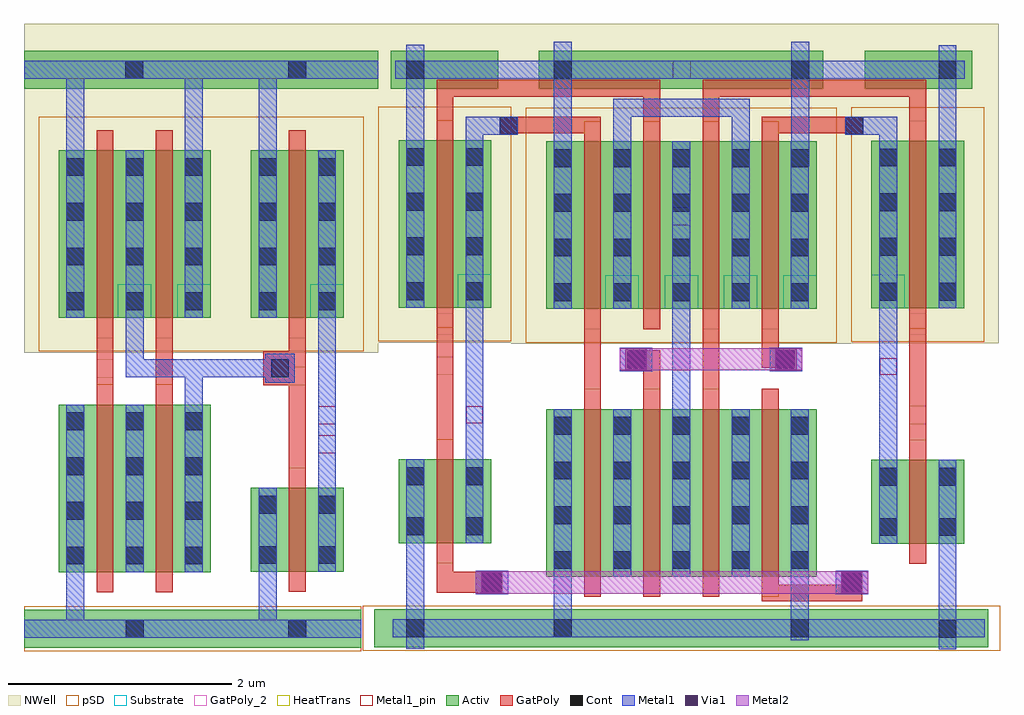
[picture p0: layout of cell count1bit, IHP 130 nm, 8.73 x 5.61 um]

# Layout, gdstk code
from math import pi, radians
import gdstk
lib = gdstk.Library(unit=1e-6, precision=5e-09)
def R(c, l, rs):  # rectangles x0, y0, x1, y1
    for r in rs: c.add(gdstk.rectangle(r[:2], r[2:], *l))
def A(c, l, x, y, w, h, nx, ny, dx, dy):  # array of equal rectangles
    R(c, l, [(x+i*dx, y+j*dy, x+i*dx+w, y+j*dy+h) for i in range(nx) for j in range(ny)])
Activ = (1, 0)
GatPoly = (5, 0)
GatPoly_2 = (5, 2)
Cont = (6, 0)
Metal1 = (8, 0)
Metal1_pin = (8, 2)
Metal2 = (10, 0)
pSD = (14, 0)
Via1 = (19, 0)
NWell = (31, 0)
Substrate = (40, 0)
HeatTrans = (51, 0)

nmos_1_1 = lib.new_cell('nmos$1$1')
R(nmos_1_1, Activ, [(0,0,0.3,0.3), (0,0,0.83,1.5), (0.53,0,0.83,0.3)])
R(nmos_1_1, GatPoly, [(0.34,-0.18,0.49,1.68)])
R(nmos_1_1, GatPoly_2, [(0.34,-0.18,0.49,1.68)])
A(nmos_1_1, Cont, 0.07, 0.07, 0.16, 0.16, 1, 4, 0, 0.4)
A(nmos_1_1, Cont, 0.6, 0.07, 0.16, 0.16, 1, 4, 0, 0.4)
R(nmos_1_1, Metal1, [(0.07,0,0.23,1.5), (0.6,0,0.76,1.5)])
R(nmos_1_1, Metal1_pin, [(0.07,0,0.23,1.5), (0.6,0,0.76,1.5)])
R(nmos_1_1, HeatTrans, [(0.34,-0.18,0.49,1.68)])
nmos_1_1.add(gdstk.Label('nmos', (0.415,0.75), layer=63, texttype=0))
nmos_1_1.add(gdstk.Label('nmos', (0.415,0.75), layer=51, texttype=0))

pmos_2 = lib.new_cell('pmos$2')
R(pmos_2, Activ, [(0,0,0.3,0.3), (0,0,0.83,1.5), (0.53,0,0.83,0.3)])
R(pmos_2, GatPoly, [(0.34,-0.18,0.49,1.68), (0.34,-0.18,0.49,1.68)])
A(pmos_2, Cont, 0.07, 0.07, 0.16, 0.16, 1, 4, 0, 0.4)
A(pmos_2, Cont, 0.6, 0.07, 0.16, 0.16, 1, 4, 0, 0.4)
R(pmos_2, Metal1, [(0.07,0,0.23,1.5), (0.07,0,0.23,1.5), (0.6,0,0.76,1.5), (0.6,0,0.76,1.5)])
R(pmos_2, pSD, [(-0.18,-0.3,1.01,1.8)])
R(pmos_2, NWell, [(-0.31,-0.31,1.14,1.81)])
R(pmos_2, Substrate, [(0.53,0,0.83,0.3)])
R(pmos_2, HeatTrans, [(0.34,-0.18,0.49,1.68)])
pmos_2.add(gdstk.Label('pmos', (0.415,0.75), layer=63, texttype=0))
pmos_2.add(gdstk.Label('pmos', (0.415,0.75), layer=51, texttype=0))

nand = lib.new_cell('nand')
R(nand, Activ, [(-2.935,-1.84,-0.955,-1.5), (-2.935,3.16,-0.955,3.5)])
R(nand, GatPoly, [(-2.285,-0.62,-2.135,1.58), (-1.755,-0.62,-1.605,1.585)])
R(nand, GatPoly_2, [(-1.755,0.46,-1.605,0.625), (-2.285,0.575,-2.135,0.74)])
R(nand, Cont, [(-2.025,-1.75,-1.865,-1.59), (-2.025,-1.75,-1.865,-1.59), (-2.03,3.25,-1.87,3.41)])
R(nand, Metal1, [(-2.935,-1.75,-0.955,-1.59), (-2.555,-1.75,-2.395,-0.535), (-1.495,-0.13,-1.335,0.74), (-2.555,1.98,-2.395,3.41), (-1.495,1.98,-1.335,3.41), (-2.935,3.25,-0.955,3.41)])
R(nand, Metal1_pin, [(-2.935,-1.75,-0.955,-1.59), (-1.495,-0.295,-1.335,-0.135), (-2.935,3.25,-0.955,3.41), (-2.03,3.25,-1.87,3.41)])
R(nand, pSD, [(-2.935,-1.87,-0.955,-1.47)])
R(nand, NWell, [(-2.935,2.92,-0.955,3.74)])
nand.add(gdstk.FlexPath([(-1.945,1.74),(-1.945,0.66),(-1.335,0.66)], 0.16, ends="flush", simple_path=True, layer=8, datatype=0))  # Metal1
nand.add(gdstk.Reference(nmos_1_1, (-2.625,-1.165)))
nand.add(gdstk.Reference(nmos_1_1, (-2.095,-1.165)))
nand.add(gdstk.Reference(pmos_2, (-2.625,1.11)))
nand.add(gdstk.Reference(pmos_2, (-2.095,1.11)))
nand.add(gdstk.Label('vss', (-1.955,-1.685), layer=8, texttype=2))
nand.add(gdstk.Label('vdd', (-1.965,3.325), layer=8, texttype=2))
nand.add(gdstk.Label('out', (-1.415,-0.22), layer=8, texttype=2))
nand.add(gdstk.Label('b', (-1.705,0.545), layer=5, texttype=2))
nand.add(gdstk.Label('a', (-2.235,0.66), layer=5, texttype=2))

m1_cont1_pmos = lib.new_cell('M1_Cont1_PMOS')
R(m1_cont1_pmos, Activ, [(-0.72,-0.175,0.73,0.165)])
R(m1_cont1_pmos, Cont, [(-0.075,-0.085,0.085,0.075)])
R(m1_cont1_pmos, Metal1, [(-0.72,-0.085,0.73,0.075)])
R(m1_cont1_pmos, Metal1_pin, [(-0.72,-0.085,0.73,0.075)])
R(m1_cont1_pmos, NWell, [(-0.72,-0.415,0.73,0.405)])

m1_bulkcont1_pmos = lib.new_cell('M1_BulkCont1_PMOS')
r = gdstk.Reference(m1_cont1_pmos, (-0.015,-0.015)); r.repetition = gdstk.Repetition(1, 1, v1=(0,0), v2=(0,0)); m1_bulkcont1_pmos.add(r)

m1_cont1_nmos = lib.new_cell('M1_Cont1_NMOS')
R(m1_cont1_nmos, Activ, [(-0.56,-0.175,0.58,0.165)])
R(m1_cont1_nmos, Cont, [(-0.07,-0.085,0.09,0.075)])
R(m1_cont1_nmos, Metal1, [(-0.56,-0.085,0.58,0.075)])
R(m1_cont1_nmos, Metal1_pin, [(-0.56,-0.085,0.58,0.075)])
R(m1_cont1_nmos, pSD, [(-0.56,-0.205,0.58,0.195)])

m1_bulkcont1_nmos = lib.new_cell('M1_BulkCont1_NMOS')
r = gdstk.Reference(m1_cont1_nmos, (0.005,0.01)); r.repetition = gdstk.Repetition(1, 1, v1=(0,0), v2=(0,0)); m1_bulkcont1_nmos.add(r)

nmos_1 = lib.new_cell('nmos$1')
R(nmos_1, Activ, [(0,0,0.3,0.3), (0,0,0.83,0.75), (0.53,0,0.83,0.3)])
R(nmos_1, GatPoly, [(0.34,-0.18,0.49,0.93)])
R(nmos_1, GatPoly_2, [(0.34,-0.18,0.49,0.93)])
R(nmos_1, Cont, [(0.07,0.07,0.23,0.23), (0.6,0.07,0.76,0.23), (0.07,0.52,0.23,0.68), (0.6,0.52,0.76,0.68)])
R(nmos_1, Metal1, [(0.07,0,0.23,0.75), (0.6,0,0.76,0.75)])
R(nmos_1, Metal1_pin, [(0.07,0,0.23,0.75), (0.6,0,0.76,0.75)])
R(nmos_1, HeatTrans, [(0.34,-0.18,0.49,0.93)])
nmos_1.add(gdstk.Label('nmos', (0.415,0.375), layer=63, texttype=0))
nmos_1.add(gdstk.Label('nmos', (0.415,0.375), layer=51, texttype=0))

pmos_1_1 = lib.new_cell('pmos$1$1')
R(pmos_1_1, Activ, [(0,0,0.3,0.3), (0,0,0.83,1.5), (0.53,0,0.83,0.3)])
R(pmos_1_1, GatPoly, [(0.34,-0.18,0.49,1.68), (0.34,-0.18,0.49,1.68)])
A(pmos_1_1, Cont, 0.07, 0.07, 0.16, 0.16, 1, 4, 0, 0.4)
A(pmos_1_1, Cont, 0.6, 0.07, 0.16, 0.16, 1, 4, 0, 0.4)
R(pmos_1_1, Metal1, [(0.07,0,0.23,1.5), (0.07,0,0.23,1.5), (0.6,0,0.76,1.5), (0.6,0,0.76,1.5)])
R(pmos_1_1, pSD, [(-0.18,-0.3,1.01,1.8)])
R(pmos_1_1, NWell, [(-0.31,-0.31,1.14,1.81)])
R(pmos_1_1, Substrate, [(0.53,0,0.83,0.3)])
R(pmos_1_1, HeatTrans, [(0.34,-0.18,0.49,1.68)])
pmos_1_1.add(gdstk.Label('pmos', (0.415,0.75), layer=63, texttype=0))
pmos_1_1.add(gdstk.Label('pmos', (0.415,0.75), layer=51, texttype=0))

inverter = lib.new_cell('inverter')
R(inverter, GatPoly, [(-0.075,-1.72,0.075,0.805)])
R(inverter, GatPoly_2, [(-0.075,-0.425,0.075,-0.26)])
R(inverter, Cont, [(-0.08,-2.685,0.08,-2.525), (-0.08,2.315,0.08,2.475)])
R(inverter, Metal1, [(-0.345,-2.685,-0.185,-1.72), (0.185,-1.72,0.345,0.805), (-0.345,1.37,-0.185,2.475)])
R(inverter, Metal1_pin, [(-0.08,-2.685,0.08,-2.525), (0.185,-1.035,0.345,-0.875), (-0.08,2.315,0.08,2.475)])
inverter.add(gdstk.Reference(m1_bulkcont1_pmos, (0.01,2.415)))
inverter.add(gdstk.Reference(m1_bulkcont1_nmos, (-0.015,-2.61)))
inverter.add(gdstk.Reference(nmos_1, (-0.415,-2.095)))
inverter.add(gdstk.Reference(pmos_1_1, (-0.415,0.175)))
inverter.add(gdstk.Label('vdd', (-0.015,2.39), layer=8, texttype=2))
inverter.add(gdstk.Label('vss', (-0.01,-2.62), layer=8, texttype=2))
inverter.add(gdstk.Label('out', (0.27,-0.95), layer=8, texttype=2))
inverter.add(gdstk.Label('in', (-0.025,-0.34), layer=5, texttype=2))

andgate = lib.new_cell('andgate')
R(andgate, GatPoly, [(0.49,-0.425,0.87,-0.125)])
R(andgate, GatPoly_2, [(-0.47,-0.36,-0.32,-0.2), (-1,-0.355,-0.85,-0.195)])
R(andgate, Cont, [(0.56,-0.355,0.72,-0.195)])
R(andgate, Metal1, [(-0.13,-2.685,0.03,-2.525), (0.51,-0.405,0.77,-0.145), (-0.05,-0.355,0.72,-0.195), (-0.21,2.315,-0.05,2.475)])
R(andgate, Metal1_pin, [(0.98,-0.775,1.14,-0.615)])
andgate.add(gdstk.Reference(nand, (1.285,-0.935)))
andgate.add(gdstk.Reference(inverter, (0.795,0)))
andgate.add(gdstk.Label('vdd', (-0.13,2.395), layer=8, texttype=0))
andgate.add(gdstk.Label('vss', (-0.055,-2.62), layer=8, texttype=0))
andgate.add(gdstk.Label('out', (1.06,-0.695), layer=8, texttype=2))
andgate.add(gdstk.Label('a', (-0.925,-0.275), layer=5, texttype=2))
andgate.add(gdstk.Label('b', (-0.395,-0.28), layer=5, texttype=2))

pmos = lib.new_cell('pmos')
R(pmos, Activ, [(0,0,0.3,0.3), (0,0,0.83,1.5), (0.53,0,0.83,0.3)])
R(pmos, GatPoly, [(0.34,-0.18,0.49,1.68), (0.34,-0.18,0.49,1.68)])
A(pmos, Cont, 0.07, 0.07, 0.16, 0.16, 1, 4, 0, 0.4)
A(pmos, Cont, 0.6, 0.07, 0.16, 0.16, 1, 4, 0, 0.4)
R(pmos, Metal1, [(0.07,0,0.23,1.5), (0.07,0,0.23,1.5), (0.6,0,0.76,1.5), (0.6,0,0.76,1.5)])
R(pmos, pSD, [(-0.18,-0.3,1.01,1.8)])
R(pmos, NWell, [(-0.31,-0.31,1.14,1.81)])
R(pmos, Substrate, [(0.53,0,0.83,0.3)])
R(pmos, HeatTrans, [(0.34,-0.18,0.49,1.68)])
pmos.add(gdstk.Label('pmos', (0.415,0.75), layer=63, texttype=0))
pmos.add(gdstk.Label('pmos', (0.415,0.75), layer=51, texttype=0))

nmos_2 = lib.new_cell('nmos$2')
R(nmos_2, Activ, [(0,0,0.3,0.3), (0,0,0.83,0.75), (0.53,0,0.83,0.3)])
R(nmos_2, GatPoly, [(0.34,-0.18,0.49,0.93)])
R(nmos_2, GatPoly_2, [(0.34,-0.18,0.49,0.93)])
R(nmos_2, Cont, [(0.07,0.07,0.23,0.23), (0.6,0.07,0.76,0.23), (0.07,0.52,0.23,0.68), (0.6,0.52,0.76,0.68)])
R(nmos_2, Metal1, [(0.07,0,0.23,0.75), (0.6,0,0.76,0.75)])
R(nmos_2, Metal1_pin, [(0.07,0,0.23,0.75), (0.6,0,0.76,0.75)])
R(nmos_2, HeatTrans, [(0.34,-0.18,0.49,0.93)])
nmos_2.add(gdstk.Label('nmos', (0.415,0.375), layer=63, texttype=0))
nmos_2.add(gdstk.Label('nmos', (0.415,0.375), layer=51, texttype=0))

pmos_1_1_1 = lib.new_cell('pmos$1$1$1')
R(pmos_1_1_1, Activ, [(0,0,0.3,0.3), (0,0,0.83,1.5), (0.53,0,0.83,0.3)])
R(pmos_1_1_1, GatPoly, [(0.34,-0.18,0.49,1.68), (0.34,-0.18,0.49,1.68)])
A(pmos_1_1_1, Cont, 0.07, 0.07, 0.16, 0.16, 1, 4, 0, 0.4)
A(pmos_1_1_1, Cont, 0.6, 0.07, 0.16, 0.16, 1, 4, 0, 0.4)
R(pmos_1_1_1, Metal1, [(0.07,0,0.23,1.5), (0.07,0,0.23,1.5), (0.6,0,0.76,1.5), (0.6,0,0.76,1.5)])
R(pmos_1_1_1, pSD, [(-0.18,-0.3,1.01,1.8)])
R(pmos_1_1_1, NWell, [(-0.31,-0.31,1.14,1.81)])
R(pmos_1_1_1, Substrate, [(0.53,0,0.83,0.3)])
R(pmos_1_1_1, HeatTrans, [(0.34,-0.18,0.49,1.68)])
pmos_1_1_1.add(gdstk.Label('pmos', (0.415,0.75), layer=63, texttype=0))
pmos_1_1_1.add(gdstk.Label('pmos', (0.415,0.75), layer=51, texttype=0))

inverter_1 = lib.new_cell('inverter$1')
R(inverter_1, Activ, [(1.335,-1.995,2.635,-1.655), (1.48,3,2.44,3.34)])
R(inverter_1, GatPoly, [(1.89,-0.135,2.04,1.34)])
R(inverter_1, GatPoly_2, [(1.89,0.44,2.04,0.605)])
R(inverter_1, Cont, [(1.62,-1.905,1.78,-1.745), (1.62,2.31,1.78,2.47), (1.62,3.09,1.78,3.25)])
R(inverter_1, Metal1, [(1.62,-2.01,1.78,-1.065), (2.15,-0.315,2.31,1.27), (1.62,2.15,1.78,3.395)])
R(inverter_1, Metal1_pin, [(1.62,-1.905,1.78,-1.745), (2.155,0.01,2.305,0.16), (1.62,3.09,1.78,3.25)])
R(inverter_1, pSD, [(1.23,-2.025,2.69,-1.625)])
R(inverter_1, NWell, [(1.24,2.85,2.69,3.58)])
inverter_1.add(gdstk.Reference(nmos_2, (1.55,-1.065)))
inverter_1.add(gdstk.Reference(pmos_1_1_1, (1.55,1.04)))
inverter_1.add(gdstk.Label('vdd', (1.685,3.17), layer=8, texttype=2))
inverter_1.add(gdstk.Label('out', (2.23,0.085), layer=8, texttype=2))
inverter_1.add(gdstk.Label('vss', (1.69,-1.84), layer=8, texttype=2))
inverter_1.add(gdstk.Label('in', (1.94,0.525), layer=5, texttype=2))

nmos = lib.new_cell('nmos')
R(nmos, Activ, [(0,0,0.3,0.3), (0,0,0.83,1.5), (0.53,0,0.83,0.3)])
R(nmos, GatPoly, [(0.34,-0.18,0.49,1.68)])
R(nmos, GatPoly_2, [(0.34,-0.18,0.49,1.68)])
A(nmos, Cont, 0.07, 0.07, 0.16, 0.16, 1, 4, 0, 0.4)
A(nmos, Cont, 0.6, 0.07, 0.16, 0.16, 1, 4, 0, 0.4)
R(nmos, Metal1, [(0.07,0,0.23,1.5), (0.6,0,0.76,1.5)])
R(nmos, Metal1_pin, [(0.07,0,0.23,1.5), (0.6,0,0.76,1.5)])
R(nmos, HeatTrans, [(0.34,-0.18,0.49,1.68)])
nmos.add(gdstk.Label('nmos', (0.415,0.75), layer=63, texttype=0))
nmos.add(gdstk.Label('nmos', (0.415,0.75), layer=51, texttype=0))

via_stack_1 = lib.new_cell('via_stack$1')
R(via_stack_1, Metal1, [(-0.145,-0.105,0.145,0.105)])
R(via_stack_1, Metal2, [(-0.145,-0.1,0.145,0.1)])
R(via_stack_1, Via1, [(-0.095,-0.095,0.095,0.095)])

nmos_1_2 = lib.new_cell('nmos$1$2')
R(nmos_1_2, Activ, [(0,0,0.3,0.3), (0,0,0.83,0.75), (0.53,0,0.83,0.3)])
R(nmos_1_2, GatPoly, [(0.34,-0.18,0.49,0.93)])
R(nmos_1_2, GatPoly_2, [(0.34,-0.18,0.49,0.93)])
R(nmos_1_2, Cont, [(0.07,0.07,0.23,0.23), (0.6,0.07,0.76,0.23), (0.07,0.52,0.23,0.68), (0.6,0.52,0.76,0.68)])
R(nmos_1_2, Metal1, [(0.07,0,0.23,0.75), (0.6,0,0.76,0.75)])
R(nmos_1_2, Metal1_pin, [(0.07,0,0.23,0.75), (0.6,0,0.76,0.75)])
R(nmos_1_2, HeatTrans, [(0.34,-0.18,0.49,0.93)])
nmos_1_2.add(gdstk.Label('nmos', (0.415,0.375), layer=63, texttype=0))
nmos_1_2.add(gdstk.Label('nmos', (0.415,0.375), layer=51, texttype=0))

pmos_1 = lib.new_cell('pmos$1')
R(pmos_1, Activ, [(0,0,0.3,0.3), (0,0,0.83,1.5), (0.53,0,0.83,0.3)])
R(pmos_1, GatPoly, [(0.34,-0.18,0.49,1.68), (0.34,-0.18,0.49,1.68)])
A(pmos_1, Cont, 0.07, 0.07, 0.16, 0.16, 1, 4, 0, 0.4)
A(pmos_1, Cont, 0.6, 0.07, 0.16, 0.16, 1, 4, 0, 0.4)
R(pmos_1, Metal1, [(0.07,0,0.23,1.5), (0.07,0,0.23,1.5), (0.6,0,0.76,1.5), (0.6,0,0.76,1.5)])
R(pmos_1, pSD, [(-0.18,-0.3,1.01,1.8)])
R(pmos_1, NWell, [(-0.31,-0.31,1.14,1.81)])
R(pmos_1, Substrate, [(0.53,0,0.83,0.3)])
R(pmos_1, HeatTrans, [(0.34,-0.18,0.49,1.68)])
pmos_1.add(gdstk.Label('pmos', (0.415,0.75), layer=63, texttype=0))
pmos_1.add(gdstk.Label('pmos', (0.415,0.75), layer=51, texttype=0))

inverter_2 = lib.new_cell('inverter$2')
R(inverter_2, Activ, [(1.335,-1.99,2.635,-1.65), (1.48,3.005,2.44,3.345)])
R(inverter_2, GatPoly, [(1.89,-0.135,2.04,1.34)])
R(inverter_2, GatPoly_2, [(1.89,0.005,2.04,0.17)])
R(inverter_2, Cont, [(1.62,-1.905,1.78,-1.745), (1.62,2.31,1.78,2.47), (1.62,3.095,1.78,3.255)])
R(inverter_2, Metal1, [(1.62,-2.01,1.78,-1.065), (2.15,-0.315,2.31,1.27), (1.62,2.15,1.78,3.395)])
R(inverter_2, Metal1_pin, [(1.62,-1.905,1.78,-1.745), (2.155,0.445,2.305,0.595), (1.62,3.095,1.78,3.255)])
R(inverter_2, pSD, [(1.23,-2.02,2.69,-1.62)])
R(inverter_2, NWell, [(1.24,2.85,2.69,3.585)])
inverter_2.add(gdstk.Reference(nmos_1_2, (1.55,-1.065)))
inverter_2.add(gdstk.Reference(pmos_1, (1.55,1.04)))
inverter_2.add(gdstk.Label('out', (2.23,0.52), layer=8, texttype=2))
inverter_2.add(gdstk.Label('vdd', (1.685,3.17), layer=8, texttype=2))
inverter_2.add(gdstk.Label('vss', (1.69,-1.84), layer=8, texttype=2))
inverter_2.add(gdstk.Label('in', (1.94,0.09), layer=5, texttype=2))

xor = lib.new_cell('xor')
R(xor, Activ, [(-2.935,-1.835,0.08,-1.495), (-2.685,3.16,-1.21,3.5), (-1.615,3.16,-0.14,3.5)])
R(xor, GatPoly, [(-0.69,-1.425,-0.54,-1.085), (-0.69,-1.425,0.21,-1.275), (0.02,-1.425,0.21,-1.16), (-3.6,-1.35,-3.01,-1.16), (-3.6,-1.16,-3.45,-1.085), (-2.28,0.22,-2.13,1.195), (-1.895,0.66,-1.75,0.67), (-0.54,0.81,-0.395,0.82), (-3.6,0.96,-3.45,1.15), (-3.6,0.96,-3.45,1.15), (0.63,0.96,0.78,1.15), (-1.75,2.46,-1.6,3.24), (-1.22,2.69,-1.07,3.09), (-3.035,2.75,-2.875,2.76), (0.055,2.75,0.215,2.76), (-3.035,2.76,-2.13,2.91), (-0.69,2.76,0.215,2.91), (-1.22,3.09,-1.07,3.24)])
R(xor, GatPoly_2, [(-3.6,0.96,-3.45,1.15), (0.63,0.96,0.78,1.15)])
R(xor, Cont, [(-2.55,-1.745,-2.39,-1.585), (-0.43,-1.745,-0.27,-1.585), (-0.43,-1.745,-0.27,-1.585), (-3.2,-1.35,-3.01,-1.16), (0.02,-1.35,0.21,-1.16), (-1.895,0.66,-1.735,0.82), (-0.555,0.66,-0.395,0.82), (-3.035,2.75,-2.875,2.91), (0.055,2.75,0.215,2.91), (-3.87,3.25,-3.71,3.41), (-3.87,3.25,-3.71,3.41), (-2.55,3.25,-2.39,3.41), (-0.425,3.25,-0.265,3.41), (-0.425,3.25,-0.265,3.41)])
R(xor, Metal1, [(-3.99,-1.745,1.305,-1.585), (-2.55,2.465,-2.39,3.58), (-0.425,2.465,-0.265,3.58), (-3.97,3.25,1.125,3.41)])
R(xor, Metal1_pin, [(-2.55,-1.745,-2.39,-1.585), (-1.49,1.94,-1.33,2.1), (-1.485,3.25,-1.325,3.41)])
R(xor, pSD, [(-2.935,-1.865,-0.02,-1.465)])
R(xor, NWell, [(-2.935,3,-0.955,3.74), (-1.865,3,0.115,3.74)])
xor.add(gdstk.FlexPath([(0.055,2.83),(0.44,2.83),(0.44,2.625)], 0.16, ends="flush", simple_path=True, layer=8, datatype=0))  # Metal1
xor.add(gdstk.FlexPath([(-2.875,2.83),(-3.26,2.83),(-3.26,2.625)], 0.16, ends="flush", simple_path=True, layer=8, datatype=0))  # Metal1
xor.add(gdstk.FlexPath([(-2.47,-0.975),(-2.47,-1.745)], 0.16, ends="flush", simple_path=True, layer=8, datatype=0))  # Metal1
xor.add(gdstk.FlexPath([(-1.41,1.345),(-1.41,0.01),(-1.41,-0.07),(-1.41,-0.07)], 0.16, ends="flush", simple_path=True, layer=8, datatype=0))  # Metal1
xor.add(gdstk.FlexPath([(-0.35,-1.11),(-0.35,-1.75),(-0.35,-1.775)], 0.16, ends="flush", simple_path=True, layer=8, datatype=0))  # Metal1
xor.add(gdstk.FlexPath([(-1.94,2.58),(-1.94,2.99),(-0.88,2.99),(-0.88,2.58)], 0.16, ends="flush", simple_path=True, layer=8, datatype=0))  # Metal1
xor.add(gdstk.FlexPath([(-1.145,1.19),(-1.145,0.295),(-1.145,0.295)], 0.15, ends="flush", simple_path=True, layer=5, datatype=0))  # GatPoly
xor.add(gdstk.FlexPath([(-1.675,0.295),(-1.675,0.745),(-1.895,0.745)], 0.15, ends="flush", simple_path=True, layer=5, datatype=0))  # GatPoly
xor.add(gdstk.FlexPath([(-0.615,1.19),(-0.615,0.74),(-0.395,0.74),(-0.395,0.74)], 0.15, ends="flush", simple_path=True, layer=5, datatype=0))  # GatPoly
xor.add(gdstk.FlexPath([(-1.6,3.165),(-3.525,3.165),(-3.525,2.88),(-3.525,2.88)], 0.15, ends="flush", simple_path=True, layer=5, datatype=0))  # GatPoly
xor.add(gdstk.FlexPath([(-1.15,3.165),(0.705,3.165),(0.705,2.875),(0.705,2.875)], 0.15, ends="flush", simple_path=True, layer=5, datatype=0))  # GatPoly
xor.add(gdstk.FlexPath([(-3.2,-1.255),(0.21,-1.255)], 0.2, ends="flush", simple_path=True, layer=10, datatype=0))  # Metal2
xor.add(gdstk.FlexPath([(-1.91,0.74),(-0.38,0.74),(-0.38,0.74)], 0.2, ends="flush", simple_path=True, layer=10, datatype=0))  # Metal2
xor.add(gdstk.Reference(pmos, (-1.56,1.19)))
xor.add(gdstk.Reference(pmos, (-2.62,1.19)))
xor.add(gdstk.Reference(pmos, (-1.03,1.19)))
xor.add(gdstk.Reference(inverter_1, (-5.49,0.16)))
xor.add(gdstk.Reference(pmos, (-2.09,1.19)))
xor.add(gdstk.Reference(nmos, (-1.56,-1.205)))
xor.add(gdstk.Reference(nmos, (-1.03,-1.205)))
xor.add(gdstk.Reference(nmos, (-2.09,-1.205)))
xor.add(gdstk.Reference(nmos, (-2.62,-1.205)))
xor.add(gdstk.Reference(via_stack_1, (-3.105,-1.255)))
xor.add(gdstk.Reference(via_stack_1, (0.115,-1.255)))
xor.add(gdstk.Reference(inverter_2, (2.67,0.155), rotation=pi, x_reflection=True))
xor.add(gdstk.Reference(via_stack_1, (-1.815,0.74)))
xor.add(gdstk.Reference(via_stack_1, (-0.475,0.74), rotation=pi, x_reflection=True))
xor.add(gdstk.Label('vss', (-2.485,-1.66), layer=8, texttype=2))
xor.add(gdstk.Label('out', (-1.41,2.03), layer=8, texttype=2))
xor.add(gdstk.Label('vdd', (-1.42,3.325), layer=8, texttype=2))
xor.add(gdstk.Label('a', (0.72,1.065), layer=5, texttype=2))
xor.add(gdstk.Label('b', (-3.545,1.06), layer=5, texttype=2))

count1bit = lib.new_cell('count1bit')
count1bit.add(gdstk.Reference(andgate, (0,0)))
count1bit.add(gdstk.Reference(xor, (5.64,-0.935)))

lib.write_gds('count1bit.gds')
